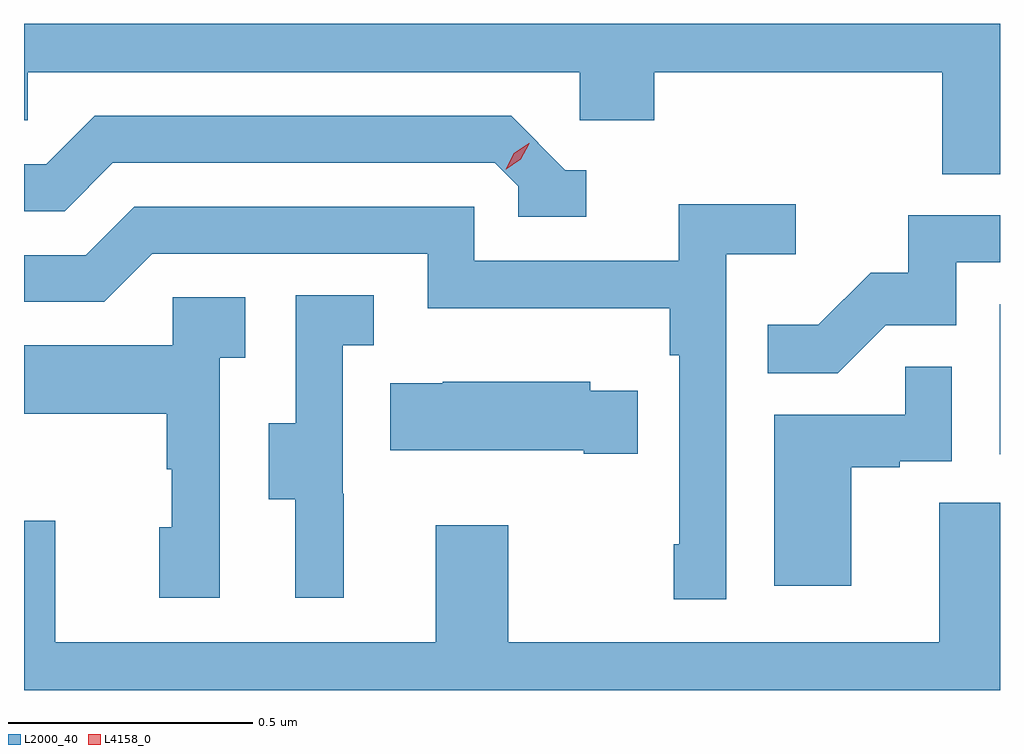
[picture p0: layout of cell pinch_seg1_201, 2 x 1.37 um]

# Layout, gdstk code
import gdstk
lib = gdstk.Library(unit=1e-6, precision=1e-09)
def R(c, l, rs):  # rectangles x0, y0, x1, y1
    for r in rs: c.add(gdstk.rectangle(r[:2], r[2:], *l))
def P(c, l, *ps):  # polygons
    for p in ps: c.add(gdstk.Polygon(p, *l))
L2000_40 = (2000, 40)
L4158_0 = (4158, 0)

pinch_seg1_201 = lib.new_cell('pinch_seg1_201')
R(pinch_seg1_201, L2000_40, [(956.57,582.918,956.571,583.225)])
P(pinch_seg1_201, L2000_40, [(956.571,583.8),(954.571,583.8),(954.571,583.602),(954.579,583.602),(954.579,583.7),(955.71,583.7),(955.71,583.602),(955.862,583.602),(955.862,583.7),(956.453,583.7),(956.453,583.492),(956.571,583.492)],
  [(955.723,583.5),(955.68,583.5),(955.569,583.611),(954.716,583.611),(954.617,583.512),(954.571,583.512),(954.571,583.416),(954.654,583.416),(954.753,583.515),(955.536,583.515),(955.584,583.467),(955.584,583.404),(955.723,583.404)],
  [(956.01,583.328),(956.152,583.328),(956.152,583.43),(955.913,583.43),(955.913,583.314),(955.494,583.314),(955.494,583.425),(954.797,583.425),(954.698,583.326),(954.571,583.326),(954.571,583.23),(954.735,583.23),(954.834,583.329),(955.398,583.329),(955.398,583.217),(955.894,583.217),(955.894,583.121),(955.914,583.121),(955.914,582.733),(955.902,582.733),(955.902,582.621),(956.01,582.621)],
  [(956.337,583.182),(956.481,583.182),(956.481,583.311),(956.571,583.311),(956.571,583.407),(956.383,583.407),(956.383,583.29),(956.306,583.29),(956.199,583.183),(956.095,583.183),(956.095,583.084),(956.239,583.084)],
  [(955.226,582.837),(955.224,582.837),(955.224,583.141),(955.288,583.141),(955.288,583.244),(955.128,583.244),(955.128,582.981),(955.073,582.981),(955.073,582.826),(955.127,582.826),(955.127,582.624),(955.226,582.624)],
  [(954.972,583.115),(955.024,583.115),(955.024,583.239),(954.876,583.239),(954.876,583.141),(954.571,583.141),(954.571,583.001),(954.864,583.001),(954.864,582.887),(954.874,582.887),(954.874,582.768),(954.848,582.768),(954.848,582.624),(954.972,582.624)],
  [(956.266,582.891),(956.366,582.891),(956.366,582.903),(956.472,582.903),(956.472,583.097),(956.377,583.097),(956.377,582.999),(956.108,582.999),(956.108,582.648),(956.266,582.648)],
  [(955.829,583.048),(955.731,583.048),(955.731,583.066),(955.429,583.066),(955.429,583.063),(955.321,583.063),(955.321,582.926),(955.718,582.926),(955.718,582.919),(955.829,582.919)],
  [(956.571,582.818),(956.447,582.818),(956.447,582.532),(955.563,582.532),(955.563,582.772),(955.415,582.772),(955.415,582.532),(954.635,582.532),(954.635,582.781),(954.571,582.781),(954.571,582.434),(956.571,582.434)])
P(pinch_seg1_201, L4158_0, [(955.558,583.502),(955.558,583.502),(955.575,583.535),(955.605,583.555),(955.606,583.555),(955.606,583.554),(955.589,583.522),(955.559,583.502)])

lib.write_gds('pinch_seg1_201.gds')
